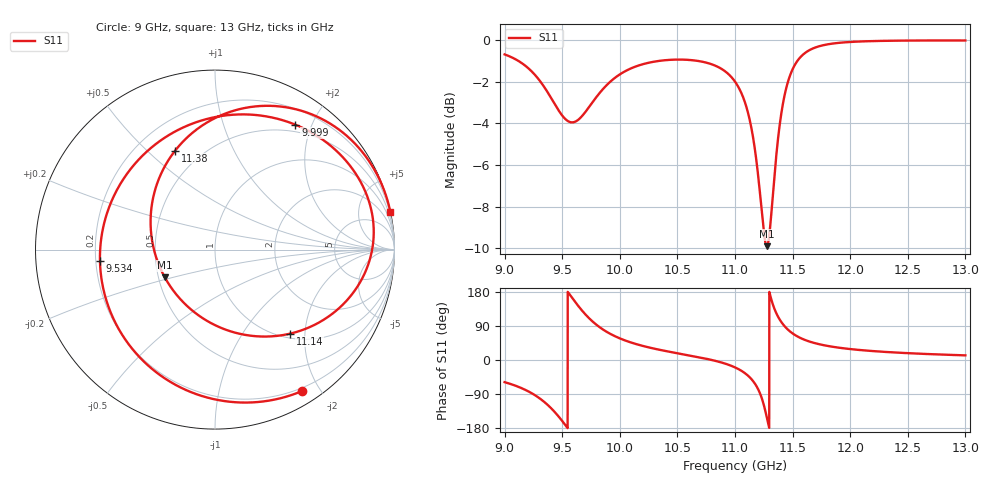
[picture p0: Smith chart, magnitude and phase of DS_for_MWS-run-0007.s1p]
! TOUCHSTONE file generated by CST DESIGN STUDIO
! Date and time: Tue Feb  4 14:30:08 2025
! Project name: C:\Work\MatlabApps\UnitCellOptimizationMatlab\CST\unitcell.cst
! Tree item: Tasks\Sweep1\SPara1\S-Parameters
! Header version: 2024
! Port assignment regex: !\s*Touchstone port\s*([0-9]+)\s*=\s*(CST MWS port|CST DES external port|CST DES block port)\s*(.+)\s* \(\"(.*)\"\)(\s*mode\s*([0-9]+))?.*
! Touchstone port assignment:
! Touchstone port 1 = CST DES external port 1 ("")
# GHz S MA R 50
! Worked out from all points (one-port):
!   4001 points, 9 GHz to 13 GHz, reference 50 ohm
!   lowest |S11| = -9.9 dB at 11.28 GHz (marker M1), VSWR 1.94, Z = 27 - j9.25 ohm
!   |S11| at or under -10 dB: nowhere
!   S11 on the Smith chart (normalised r, x): 9 GHz: 0.16, -1.78; 9.534 GHz: 0.22, -0.05; 9.999 GHz: 0.40, +1.77; 11.14 GHz: 1.09, -1.68; 11.38 GHz: 0.36, +0.61; 13 GHz: 0.03, +9.33
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9  0.9251 -58.5
9.147  0.8823 -74.2
9.297  0.8049 -99.7
9.397  0.7317 -125.2
9.5  0.6592 -160.9
9.534  0.6439 -174.5
9.623  0.6393 149.1
9.744  0.6978 107.1
9.852  0.7624 80.8
9.999  0.8277 57.2
10  0.8281 57.1
10.215  0.8784 35.9
10.5  0.8989 17.8
10.804  0.8745 -0.4
11  0.7955 -19.5
11.073  0.7263 -31.9
11.136  0.6278 -48.2
11.212  0.4418 -84.4
11.276  0.3196 -151.2
11.325  0.4125 149.9
11.378  0.5944 111.9
11.433  0.7433 88.3
11.5  0.852 70.1
11.585  0.9212 55.7
11.687  0.9588 45.0
12  0.991 28.9
12.5  0.9988 18.1
13  0.9992 12.2
